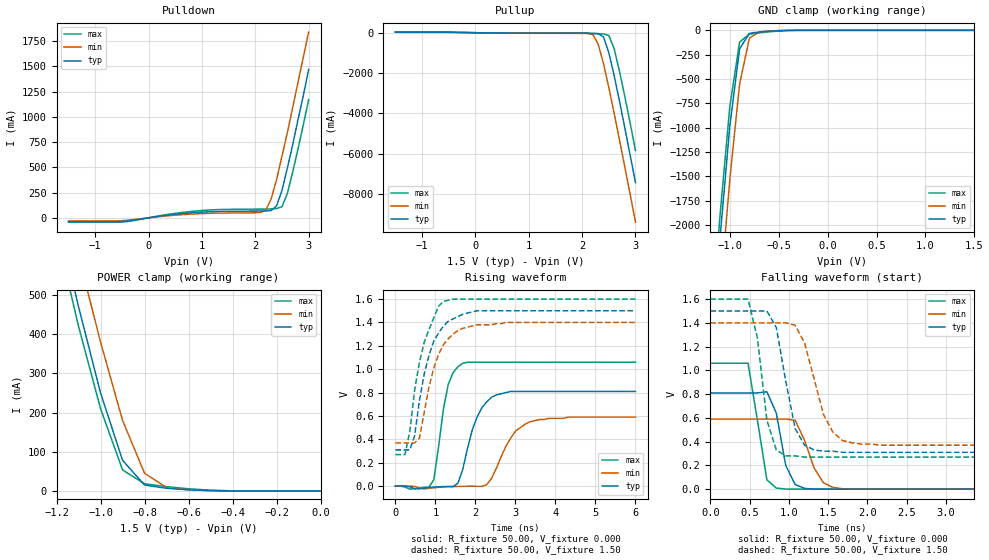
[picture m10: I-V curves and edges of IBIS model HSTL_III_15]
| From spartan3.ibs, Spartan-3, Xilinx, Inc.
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|   Model HSTL_III_15
[Model]   HSTL_III_15
Model_type   I/O
Polarity   Non-Inverting
Enable   Active-Low
Vinl =   0.80V
Vinh =   1.00V
Vmeas =   0.90V
Cref =  0.000F
Rref =  50.00
Vref =   0.90V
C_comp   6.38pF   4.60pF   8.23pF
[Temperature Range]   25.00   85.00   0.000
[Voltage Range]   1.50V   1.40V   1.60V
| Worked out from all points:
|   slope of the pulldown table from 0 to 0.225 V, typ, clamps not added: 12.9 ohm
|   slope of the pullup table from 0 to 0.225 V, typ, clamps not added: 29.6 ohm
|   GND clamp passes 1 mA (typ) near -0.42 V on its own axis
|   POWER clamp passes 1 mA (typ) near -0.52 V on its own axis
|   rising waveform, R_fixture 50.00, V_fixture 0.000: 20-80 % time 432ps typ, 534ps min, 281ps max; typ from 0 V to 0.81 V
|   rising waveform, R_fixture 50.00, V_fixture 1.50: 20-80 % time 471ps typ, 485ps min, 451ps max; typ from 0.31 V to 1.5 V
|   falling waveform, R_fixture 50.00, V_fixture 0.000: 20-80 % time 154ps typ, 222ps min, 155ps max; typ from 0.81 V to 0 V
|   falling waveform, R_fixture 50.00, V_fixture 1.50: 20-80 % time 202ps typ, 269ps min, 164ps max; typ from 1.5 V to 0.31 V
[Pulldown]
| voltage   I(typ)   I(min)   I(max)
-1.5V     -38.69mA   -30.97mA   -43.27mA
-500mV    -35.89mA   -28.08mA   -41.04mA
900mV     53.25mA    39.44mA    68.16mA
2V        66.64mA    50.06mA    85.87mA
2.2V      68.36mA    75.91mA    86.68mA
2.3V      72.8mA     190mA      88.29mA
2.4V      120mA      380mA      92.28mA
2.5V      270mA      610mA      110mA
2.6V      490mA      840mA      240mA
2.7V      720mA      1.09A      450mA
2.8V      970mA      1.34A      680mA
3V        1.47A      1.84A      1.17A
[Pullup]
| voltage   I(typ)   I(min)   I(max)
-1.5V     25.05mA    19.62mA    30.61mA
1.9V      -19.48mA   -15.11mA   -31.45mA
2.1V      -25.61mA   -27.36mA   -34.71mA
2.2V      -32.75mA   -89.72mA   -41.15mA
2.3V      -46.23mA   -560mA     -50.38mA
2.4V      -210mA     -1.53A     -62.52mA
2.5V      -990mA     -2.72A     -140mA
2.6V      -2.13A     -4A        -800mA
2.7V      -3.4A      -5.32A     -1.91A
2.8V      -4.73A     -6.67A     -3.17A
3V        -7.45A     -9.41A     -5.85A
[GND_clamp]
| voltage   I(typ)   I(min)   I(max)
-1.5V     -7.45A     -8.03A     -7.22A
-1.2V     -3.4A      -4A        -3.16A
-1.1V     -2.13A     -2.72A     -1.9A
-1V       -980mA     -1.53A     -780mA
-900mV    -190mA     -550mA     -120mA
-800mV    -31.05mA   -80.69mA   -39.18mA
-700mV    -16.94mA   -16.42mA   -26.23mA
-500mV    -3.31mA    -3.01mA    -7.22mA
-300mV    -39.58uA   -73.96uA   -160uA
1.5V      1.97nA     75.33nA    6.34nA
[POWER_clamp]
| voltage   I(typ)   I(min)   I(max)
-1.5V     1.46A      1.59A      1.41A
-1.2V     710mA      840mA      660mA
-1.1V     470mA      600mA      420mA
-1V       250mA      380mA      210mA
-900mV    78.2mA     180mA      53.65mA
-800mV    14.96mA    44.95mA    18.34mA
-700mV    6.69mA     8.78mA     10.89mA
-600mV    2.8mA      2.96mA     5.51mA
-400mV    81.59uA    140uA      290uA
0V        1.97nA     14.63nA    7.4nA
[Ramp]
| variable   typ   min   max
dV/dt_r   0.49/0.43n   0.35/0.54n   0.64/0.28n
dV/dt_f   0.71/0.18n   0.62/0.25n   0.80/0.14n
R_load = 50.00
[Rising Waveform]
R_fixture = 50.00
V_fixture = 0.000
| time   V(typ)   V(min)   V(max)
0s        0V         0V         0V
960ps     -8.18mV    -13.95mV   55.28mV
1.32ns    -2.78mV    -4.92mV    870mV
1.56ns    23.77mV    -2.46mV    1.02V
1.68ns    140mV      -1.73mV    1.05V
2.04ns    590mV      -1.54mV    1.06V
2.52ns    780mV      150mV      1.06V
3ns       810mV      470mV      1.06V
3.36ns    810mV      550mV      1.06V
6ns       810mV      590mV      1.06V
[Rising Waveform]
R_fixture = 50.00
V_fixture = 1.50
V_fixture_min = 1.40
V_fixture_max = 1.60
| time   V(typ)   V(min)   V(max)
0s        310mV      370mV      270mV
240ps     310mV      370mV      270mV
360ps     310mV      370mV      470mV
480ps     430mV      370mV      820mV
600ps     730mV      410mV      1.06V
840ps     1.12V      850mV      1.34V
1.2ns     1.37V      1.21V      1.58V
1.56ns    1.45V      1.33V      1.6V
2.04ns    1.5V       1.38V      1.6V
6ns       1.5V       1.4V       1.6V
[Falling Waveform]
R_fixture = 50.00
V_fixture = 0.000
| time   V(typ)   V(min)   V(max)
0s        810mV      590mV      1.06V
480ps     810mV      590mV      1.06V
720ps     820mV      590mV      78.8mV
840ps     640mV      590mV      9.16mV
960ps     200mV      590mV      1.42mV
1.08ns    38.98mV    580mV      220uV
1.2ns     6.37mV     410mV      39.95uV
1.44ns    310uV      53.09mV    -78.55nV
1.68ns    39.5uV     3.88mV     -170nV
6ns       560nV      0V         560nV
[Falling Waveform]
R_fixture = 50.00
V_fixture = 1.50
V_fixture_min = 1.40
V_fixture_max = 1.60
| time   V(typ)   V(min)   V(max)
0s        1.5V       1.4V       1.6V
480ps     1.5V       1.4V       1.6V
600ps     1.5V       1.4V       1.27V
720ps     1.5V       1.4V       580mV
840ps     1.36V      1.4V       330mV
960ps     910mV      1.4V       280mV
1.2ns     370mV      1.23V      270mV
1.44ns    320mV      630mV      270mV
1.68ns    310mV      410mV      270mV
6ns       310mV      370mV      270mV
